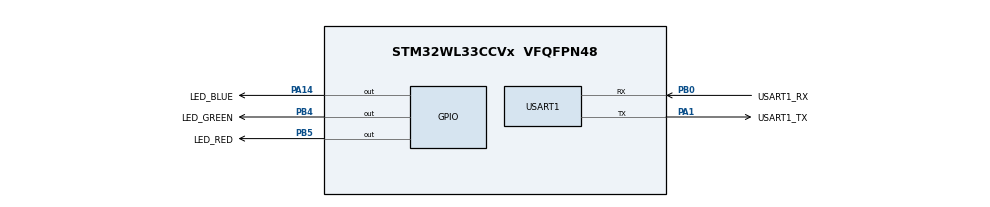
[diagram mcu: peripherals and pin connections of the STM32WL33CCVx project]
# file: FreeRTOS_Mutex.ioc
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FREERTOS.INCLUDE_xTaskAbortDelay=1
FREERTOS.Mutexes01=Mutex,Dynamic,NULL,Available
FREERTOS.Tasks01=Thread1,24,256,Thread1_Entry,Default,NULL,Dynamic,NULL,NULL;Thread2,24,256,Thread2_Entry,Default,NULL,Dynamic,NULL,NULL
FREERTOS.configENABLE_BACKWARD_COMPATIBILITY=0
Mcu.Family=STM32WL3
Mcu.Name=STM32WL33CCVx
Mcu.Package=VFQFPN48
NVIC.TIM2_IRQn=true\:3\:0\:false\:false\:true\:false\:true\:true\:true
NVIC.TimeBase=TIM2_IRQn
NVIC.TimeBaseIP=TIM2
PA1.GPIO_Label=USART1_TX
PA1.GPIO_Speed=GPIO_SPEED_FREQ_HIGH
PA1.Mode=Asynchronous
PA1.Signal=USART1_TX
PA14.GPIO_Label=LED_BLUE
PA14.GPIO_Speed=GPIO_SPEED_FREQ_HIGH
PA14.PinState=GPIO_PIN_SET
PA14.Signal=GPIO_Output
PB0.GPIO_Label=USART1_RX
PB0.GPIO_Speed=GPIO_SPEED_FREQ_HIGH
PB0.Mode=Asynchronous
PB0.Signal=USART1_RX
PB4.GPIO_Label=LED_GREEN
PB4.GPIO_Speed=GPIO_SPEED_FREQ_HIGH
PB4.PinState=GPIO_PIN_SET
PB4.Signal=GPIO_Output
PB5.GPIO_Label=LED_RED
PB5.GPIO_PuPd=GPIO_PULLUP
PB5.GPIO_Speed=GPIO_SPEED_FREQ_HIGH
PB5.PinState=GPIO_PIN_SET
PB5.Signal=GPIO_Output
ProjectManager.HeapSize=0x200
ProjectManager.StackSize=0x400
ProjectManager.TargetToolchain=EWARM V9.30
RCC.HSE_VALUE=48000000
RCC.HSI_VALUE=64000000
RCC.LSE_VALUE=32768
USART1.VirtualMode-Asynchronous=VM_ASYNC
VP_FREERTOS_VS_CMSIS_V2.Mode=CMSIS_V2
VP_PWR_VS_SECSignals.Mode=Security/Privilege
VP_SYS_VS_tim2.Mode=TIM2
board=custom

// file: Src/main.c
/* USER CODE BEGIN Header */
/**
  ******************************************************************************
  * @file           : main.c
  * @brief          : Main program body
  ******************************************************************************
  * @attention
  *
  * Copyright (c) 2024 STMicroelectronics.
  * All rights reserved.
  *
  * This software is licensed under terms that can be found in the LICENSE file
  * in the root directory of this software component.
  * If no LICENSE file comes with this software, it is provided AS-IS.
  *
  ******************************************************************************
  */
/* USER CODE END Header */
#include "main.h"
#include "FreeRTOS.h"
#include "cmsis_os2.h"

/* USER CODE BEGIN Includes */
#include <stdio.h>
#if defined(__ICCARM__)
#include <LowLevelIOInterface.h>
#endif /* __ICCARM__ */
/* USER CODE END Includes */

/* USER CODE BEGIN PD */

/** This define controls whether the code uses a mutex to protect printf.
  * Set it to 0 to observe the behaviour without mutex.
  * Set it to 1 to protect access to printf. */
#define EXAMPLE_USES_MUTEX 1

/* USER CODE END PD */

UART_HandleTypeDef huart1;

/* Definitions for Thread1 */
osThreadId_t Thread1Handle;
const osThreadAttr_t Thread1_attributes = {
  .name = "Thread1",
  .stack_size = 256 * 4,
  .priority = (osPriority_t) osPriorityNormal,
};
/* Definitions for Thread2 */
osThreadId_t Thread2Handle;
const osThreadAttr_t Thread2_attributes = {
  .name = "Thread2",
  .stack_size = 256 * 4,
  .priority = (osPriority_t) osPriorityNormal,
};
/* Definitions for Mutex */
osMutexId_t MutexHandle;
const osMutexAttr_t Mutex_attributes = {
  .name = "Mutex"
};

void SystemClock_Config(void);
void PeriphCommonClock_Config(void);
static void MX_GPIO_Init(void);
static void MX_USART1_UART_Init(void);
void Thread1_Entry(void *argument);
void Thread2_Entry(void *argument);

/* USER CODE BEGIN PFP */

#if defined(__ICCARM__)
/* New definition from EWARM V9, compatible with EWARM8 */
int iar_fputc(int ch);
#define PUTCHAR_PROTOTYPE int iar_fputc(int ch)
#elif defined ( __CC_ARM ) || defined(__ARMCC_VERSION)
/* ARM Compiler 5/6*/
#define PUTCHAR_PROTOTYPE int fputc(int ch, FILE *f)
#elif defined(__GNUC__)
#define PUTCHAR_PROTOTYPE int __io_putchar(int ch)
#endif /* __ICCARM__ */

/* USER CODE END PFP */

int main(void)
{

  /* MCU Configuration--------------------------------------------------------*/

  /* Reset of all peripherals, Initializes the Flash interface and the Systick. */
  HAL_Init();

  /* Configure the system clock */
  SystemClock_Config();

  /* Configure the peripherals common clocks */
  PeriphCommonClock_Config();

  /* Initialize all configured peripherals */
  MX_GPIO_Init();
  MX_USART1_UART_Init();

  /* Init scheduler */
  osKernelInitialize();
  /* Create the mutex(es) */
  /* creation of Mutex */
  MutexHandle = osMutexNew(&Mutex_attributes);

  /* USER CODE BEGIN RTOS_MUTEX */
  if(MutexHandle == NULL)
  {
    Error_Handler();
  }
  /* add mutexes, ... */
  /* USER CODE END RTOS_MUTEX */

  /* Create the thread(s) */
  /* creation of Thread1 */
  Thread1Handle = osThreadNew(Thread1_Entry, NULL, &Thread1_attributes);

  /* creation of Thread2 */
  Thread2Handle = osThreadNew(Thread2_Entry, NULL, &Thread2_attributes);

  /* USER CODE BEGIN RTOS_THREADS */
  if((Thread1Handle == NULL)||(Thread2Handle == NULL))
  {
    Error_Handler();
  }
  /* add threads, ... */
  /* USER CODE END RTOS_THREADS */

  /* Start scheduler */
  osKernelStart();

  /* We should never get here as control is now taken by the scheduler */

  /* Infinite loop */
  while (1)
  {

  }
}

void SystemClock_Config(void)
{
  RCC_OscInitTypeDef RCC_OscInitStruct = {0};
  RCC_ClkInitTypeDef RCC_ClkInitStruct = {0};

  /** Initializes the RCC Oscillators according to the specified parameters
  * in the RCC_OscInitTypeDef structure.
  */
  RCC_OscInitStruct.OscillatorType = RCC_OSCILLATORTYPE_HSI;
  if (HAL_RCC_OscConfig(&RCC_OscInitStruct) != HAL_OK)
  {
    Error_Handler();
  }

  /** Configure the SYSCLKSource and SYSCLKDivider
  */
  RCC_ClkInitStruct.SYSCLKSource = RCC_SYSCLKSOURCE_HSI;
  RCC_ClkInitStruct.SYSCLKDivider = RCC_RC64MPLL_DIV1;

  if (HAL_RCC_ClockConfig(&RCC_ClkInitStruct, FLASH_WAIT_STATES_1) != HAL_OK)
  {
    Error_Handler();
  }
}

void PeriphCommonClock_Config(void)
{
  RCC_PeriphCLKInitTypeDef PeriphClkInitStruct = {0};

  /** Initializes the peripherals clock
  */
  PeriphClkInitStruct.PeriphClockSelection = RCC_PERIPHCLK_SMPS;
  PeriphClkInitStruct.SmpsDivSelection = RCC_SMPSCLK_DIV2;
  PeriphClkInitStruct.KRMRateMultiplier = 2;

  if (HAL_RCCEx_PeriphCLKConfig(&PeriphClkInitStruct) != HAL_OK)
  {
    Error_Handler();
  }
}

static void MX_USART1_UART_Init(void)
{

  huart1.Instance = USART1;
  huart1.Init.BaudRate = 115200;
  huart1.Init.WordLength = UART_WORDLENGTH_8B;
  huart1.Init.StopBits = UART_STOPBITS_1;
  huart1.Init.Parity = UART_PARITY_NONE;
  huart1.Init.Mode = UART_MODE_TX_RX;
  huart1.Init.HwFlowCtl = UART_HWCONTROL_NONE;
  huart1.Init.OverSampling = UART_OVERSAMPLING_16;
  huart1.Init.OneBitSampling = UART_ONE_BIT_SAMPLE_DISABLE;
  huart1.Init.ClockPrescaler = UART_PRESCALER_DIV1;
  huart1.AdvancedInit.AdvFeatureInit = UART_ADVFEATURE_NO_INIT;
  if (HAL_UART_Init(&huart1) != HAL_OK)
  {
    Error_Handler();
  }
  if (HAL_UARTEx_SetTxFifoThreshold(&huart1, UART_TXFIFO_THRESHOLD_1_8) != HAL_OK)
  {
    Error_Handler();
  }
  if (HAL_UARTEx_SetRxFifoThreshold(&huart1, UART_RXFIFO_THRESHOLD_1_8) != HAL_OK)
  {
    Error_Handler();
  }
  if (HAL_UARTEx_DisableFifoMode(&huart1) != HAL_OK)
  {
    Error_Handler();
  }

}

static void MX_GPIO_Init(void)
{
  GPIO_InitTypeDef GPIO_InitStruct = {0};

  /* GPIO Ports Clock Enable */
  __HAL_RCC_GPIOB_CLK_ENABLE();
  __HAL_RCC_GPIOA_CLK_ENABLE();

  /*Configure GPIO pin Output Level */
  HAL_GPIO_WritePin(GPIOB, LED_GREEN_Pin|LED_RED_Pin, GPIO_PIN_SET);

  /*Configure GPIO pin Output Level */
  HAL_GPIO_WritePin(LED_BLUE_GPIO_Port, LED_BLUE_Pin, GPIO_PIN_SET);

  /*Configure GPIO pin : LED_GREEN_Pin */
  GPIO_InitStruct.Pin = LED_GREEN_Pin;
  GPIO_InitStruct.Mode = GPIO_MODE_OUTPUT_PP;
  GPIO_InitStruct.Pull = GPIO_NOPULL;
  GPIO_InitStruct.Speed = GPIO_SPEED_FREQ_HIGH;
  HAL_GPIO_Init(LED_GREEN_GPIO_Port, &GPIO_InitStruct);

  /*Configure GPIO pin : LED_RED_Pin */
  GPIO_InitStruct.Pin = LED_RED_Pin;
  GPIO_InitStruct.Mode = GPIO_MODE_OUTPUT_PP;
  GPIO_InitStruct.Pull = GPIO_PULLUP;
  GPIO_InitStruct.Speed = GPIO_SPEED_FREQ_HIGH;
  HAL_GPIO_Init(LED_RED_GPIO_Port, &GPIO_InitStruct);

  /*Configure GPIO pin : LED_BLUE_Pin */
  GPIO_InitStruct.Pin = LED_BLUE_Pin;
  GPIO_InitStruct.Mode = GPIO_MODE_OUTPUT_PP;
  GPIO_InitStruct.Pull = GPIO_NOPULL;
  GPIO_InitStruct.Speed = GPIO_SPEED_FREQ_HIGH;
  HAL_GPIO_Init(LED_BLUE_GPIO_Port, &GPIO_InitStruct);

  /**/
  HAL_PWREx_DisableGPIOPullUp(PWR_GPIO_B, PWR_GPIO_BIT_4);

  /**/
  HAL_PWREx_DisableGPIOPullUp(PWR_GPIO_A, PWR_GPIO_BIT_14);

  /**/
  HAL_PWREx_DisableGPIOPullDown(PWR_GPIO_B, PWR_GPIO_BIT_4);

  /**/
  HAL_PWREx_DisableGPIOPullDown(PWR_GPIO_A, PWR_GPIO_BIT_14);

  /**/
  HAL_PWREx_EnableGPIOPullUp(PWR_GPIO_B, PWR_GPIO_BIT_5);

}

/* USER CODE BEGIN 4 */

#if defined(__ICCARM__)
size_t __write(int file, unsigned char const *ptr, size_t len)
{
  size_t idx;
  unsigned char const *pdata = ptr;

  for (idx = 0; idx < len; idx++)
  {
    iar_fputc((int)*pdata);
    pdata++;
  }
  return len;
}
#endif /* __ICCARM__ */

/**
  * @brief  Retargets the C library printf function to the USART.
  * @param  None
  * @retval None
  */
PUTCHAR_PROTOTYPE
{
  /* Place your implementation of fputc here */
  /* e.g. write a character to the USART1 and Loop until the end of transmission */
  HAL_UART_Transmit(&huart1, (uint8_t *)&ch, 1, 0xFFFF);
  return ch;
}
/* USER CODE END 4 */

void Thread1_Entry(void *argument)
{
  /* USER CODE BEGIN 5 */
  uint16_t i;

  for(i = 0; i < 10; ++i)
  {
#if EXAMPLE_USES_MUTEX
  osMutexAcquire(MutexHandle, osWaitForever);
  printf ("Thread1: Mutex Acquired!\r\n");
#endif

  printf("Thread1 : This is message number %u\r\n", i+1);

#if EXAMPLE_USES_MUTEX
  printf ("Thread1: Mutex Released!\r\n");
  osMutexRelease(MutexHandle);
#endif

    HAL_GPIO_TogglePin(LED_GREEN_GPIO_Port, LED_GREEN_Pin);
    osDelay(200);
  }

  /* Infinite loop */
  while(1)
  {
    HAL_GPIO_TogglePin(LED_GREEN_GPIO_Port, LED_GREEN_Pin);
    osDelay(1000);
  }
  /* USER CODE END 5 */
}

void Thread2_Entry(void *argument)
{
  /* USER CODE BEGIN Thread2_Entry */
  uint16_t i;

  for(i = 0; i < 10; ++i)
  {
#if EXAMPLE_USES_MUTEX
    osMutexAcquire(MutexHandle, osWaitForever);
    printf ("Thread2: Mutex Acquired!\r\n");
#endif

    printf("Thread2 : This is message number %u\r\n", i+1);

#if EXAMPLE_USES_MUTEX
    printf ("Thread2: Mutex Released!\r\n");
    osMutexRelease(MutexHandle);
#endif

    HAL_GPIO_TogglePin(LED_BLUE_GPIO_Port, LED_BLUE_Pin);
    osDelay(200);
  }

  /* Infinite loop */
  while(1)
  {
    HAL_GPIO_TogglePin(LED_BLUE_GPIO_Port, LED_BLUE_Pin);
    osDelay(1000);
  }
  /* USER CODE END Thread2_Entry */
}

void HAL_TIM_PeriodElapsedCallback(TIM_HandleTypeDef *htim)
{
  if (htim->Instance == TIM2)
  {
    HAL_IncTick();
  }
}

void Error_Handler(void)
{
  /* USER CODE BEGIN Error_Handler_Debug */
  /* User can add his own implementation to report the HAL error return state */
  printf("Critical Error occurred \r\n");
  while (1)
  {
    HAL_GPIO_TogglePin(LED_RED_GPIO_Port, LED_RED_Pin);
    HAL_Delay(500);
  }
  /* USER CODE END Error_Handler_Debug */
}
